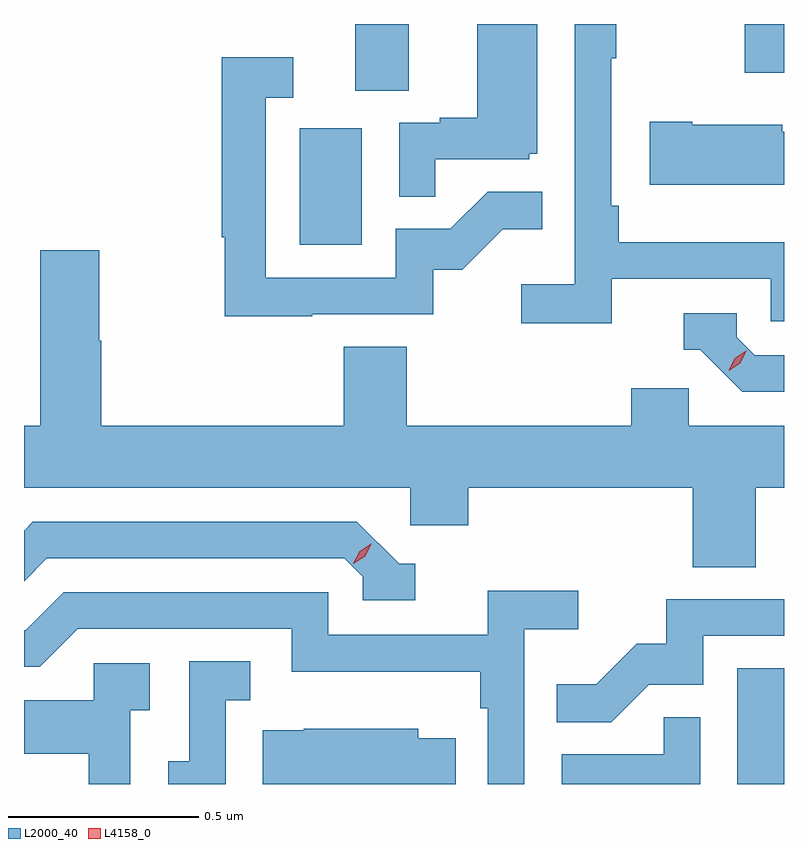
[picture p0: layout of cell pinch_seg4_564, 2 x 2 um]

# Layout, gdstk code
import gdstk
lib = gdstk.Library(unit=1e-6, precision=1e-09)
def R(c, l, rs):  # rectangles x0, y0, x1, y1
    for r in rs: c.add(gdstk.rectangle(r[:2], r[2:], *l))
def P(c, l, *ps):  # polygons
    for p in ps: c.add(gdstk.Polygon(p, *l))
L2000_40 = (2000, 40)
L4158_0 = (4158, 0)

pinch_seg4_564 = lib.new_cell('pinch_seg4_564')
R(pinch_seg4_564, L2000_40, [(1102.868,782.721,1102.991,783.025), (1101.716,784.14,1101.88,784.447), (1102.888,784.593,1102.991,784.721)])
P(pinch_seg4_564, L2000_40, [(1102.538,784.05),(1102.956,784.05),(1102.956,783.939),(1102.991,783.939),(1102.991,784.147),(1102.556,784.147),(1102.556,784.243),(1102.536,784.243),(1102.536,784.631),(1102.549,784.631),(1102.549,784.721),(1102.44,784.721),(1102.44,784.036),(1102.299,784.036),(1102.299,783.934),(1102.538,783.934)],
  [(1102.073,784.365),(1102.32,784.365),(1102.32,784.38),(1102.342,784.38),(1102.342,784.721),(1102.184,784.721),(1102.184,784.474),(1102.085,784.474),(1102.085,784.461),(1101.978,784.461),(1101.978,784.267),(1102.073,784.267)],
  [(1102.003,784.721),(1101.851,784.721),(1101.851,784.72),(1101.863,784.72),(1101.863,784.546),(1102.003,784.546)],
  [(1101.749,783.957),(1102.068,783.957),(1102.068,784.074),(1102.144,784.074),(1102.251,784.181),(1102.355,784.181),(1102.355,784.28),(1102.211,784.28),(1102.113,784.182),(1101.969,784.182),(1101.969,784.053),(1101.627,784.053),(1101.627,784.527),(1101.7,784.527),(1101.7,784.633),(1101.511,784.633),(1101.511,784.16),(1101.519,784.16),(1101.519,783.952),(1101.749,783.952)],
  [(1102.991,784.438),(1102.986,784.438),(1102.986,784.456),(1102.75,784.456),(1102.75,784.464),(1102.638,784.464),(1102.638,784.298),(1102.991,784.298)],
  [(1102.916,783.5),(1102.991,783.5),(1102.991,783.664),(1102.74,783.664),(1102.74,783.762),(1102.589,783.762),(1102.589,783.664),(1101.998,783.664),(1101.998,783.872),(1101.833,783.872),(1101.833,783.664),(1101.194,783.664),(1101.194,783.887),(1101.189,783.887),(1101.189,784.126),(1101.034,784.126),(1101.034,783.664),(1100.991,783.664),(1100.991,783.5),(1102.008,783.5),(1102.008,783.402),(1102.16,783.402),(1102.16,783.5),(1102.751,783.5),(1102.751,783.292),(1102.916,783.292)],
  [(1102.991,783.849),(1102.914,783.849),(1102.866,783.897),(1102.866,783.96),(1102.727,783.96),(1102.727,783.864),(1102.77,783.864),(1102.881,783.753),(1102.991,783.753)],
  [(1102.021,783.3),(1101.978,783.3),(1101.867,783.411),(1101.014,783.411),(1100.991,783.388),(1100.991,783.255),(1101.051,783.315),(1101.834,783.315),(1101.882,783.267),(1101.882,783.204),(1102.021,783.204)],
  [(1102.308,783.128),(1102.45,783.128),(1102.45,783.23),(1102.211,783.23),(1102.211,783.114),(1101.792,783.114),(1101.792,783.225),(1101.095,783.225),(1100.996,783.126),(1100.991,783.126),(1100.991,783.03),(1101.033,783.03),(1101.132,783.129),(1101.696,783.129),(1101.696,783.017),(1102.192,783.017),(1102.192,782.921),(1102.212,782.921),(1102.212,782.721),(1102.308,782.721)],
  [(1102.635,782.982),(1102.779,782.982),(1102.779,783.111),(1102.991,783.111),(1102.991,783.207),(1102.681,783.207),(1102.681,783.09),(1102.604,783.09),(1102.497,782.983),(1102.393,782.983),(1102.393,782.884),(1102.537,782.884)],
  [(1101.522,782.941),(1101.586,782.941),(1101.586,783.044),(1101.426,783.044),(1101.426,782.781),(1101.371,782.781),(1101.371,782.721),(1101.522,782.721)],
  [(1101.27,782.915),(1101.322,782.915),(1101.322,783.039),(1101.174,783.039),(1101.174,782.941),(1100.991,782.941),(1100.991,782.801),(1101.162,782.801),(1101.162,782.721),(1101.27,782.721)],
  [(1102.77,782.897),(1102.675,782.897),(1102.675,782.799),(1102.406,782.799),(1102.406,782.721),(1102.77,782.721)],
  [(1102.127,782.842),(1102.029,782.842),(1102.029,782.866),(1101.727,782.866),(1101.727,782.863),(1101.619,782.863),(1101.619,782.721),(1102.127,782.721)])
P(pinch_seg4_564, L4158_0, [(1101.858,783.301),(1101.858,783.302),(1101.874,783.334),(1101.905,783.353),(1101.905,783.353),(1101.905,783.353),(1101.889,783.321),(1101.858,783.301)],
  [(1102.845,783.809),(1102.845,783.809),(1102.861,783.842),(1102.891,783.861),(1102.891,783.861),(1102.891,783.861),(1102.876,783.828),(1102.846,783.809)])

lib.write_gds('pinch_seg4_564.gds')
